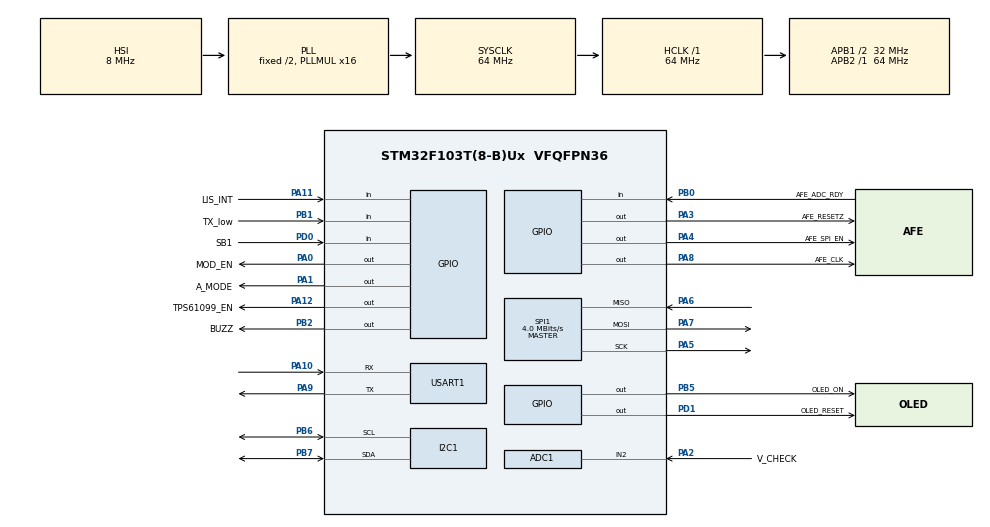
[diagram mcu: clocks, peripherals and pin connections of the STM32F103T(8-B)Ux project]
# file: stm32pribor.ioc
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ADC1.Channel-1\#ChannelRegularConversion=ADC_CHANNEL_2
ADC1.Channel-2\#ChannelRegularConversion=ADC_CHANNEL_2
ADC1.NbrOfConversion=2
ADC1.NbrOfConversionFlag=1
ADC1.Rank-1\#ChannelRegularConversion=1
ADC1.Rank-2\#ChannelRegularConversion=2
ADC1.SamplingTime-1\#ChannelRegularConversion=ADC_SAMPLETIME_1CYCLE_5
ADC1.SamplingTime-2\#ChannelRegularConversion=ADC_SAMPLETIME_1CYCLE_5
ADC1.master=1
Dma.I2C1_RX.1.Direction=DMA_PERIPH_TO_MEMORY
Dma.I2C1_RX.1.Instance=DMA1_Channel7
Dma.I2C1_RX.1.MemDataAlignment=DMA_MDATAALIGN_BYTE
Dma.I2C1_RX.1.MemInc=DMA_MINC_ENABLE
Dma.I2C1_RX.1.Mode=DMA_NORMAL
Dma.I2C1_RX.1.PeriphDataAlignment=DMA_PDATAALIGN_BYTE
Dma.I2C1_RX.1.PeriphInc=DMA_PINC_DISABLE
Dma.I2C1_RX.1.Priority=DMA_PRIORITY_VERY_HIGH
Dma.I2C1_TX.0.Direction=DMA_MEMORY_TO_PERIPH
Dma.I2C1_TX.0.Instance=DMA1_Channel6
Dma.I2C1_TX.0.MemDataAlignment=DMA_MDATAALIGN_BYTE
Dma.I2C1_TX.0.MemInc=DMA_MINC_ENABLE
Dma.I2C1_TX.0.Mode=DMA_NORMAL
Dma.I2C1_TX.0.PeriphDataAlignment=DMA_PDATAALIGN_BYTE
Dma.I2C1_TX.0.PeriphInc=DMA_PINC_DISABLE
Dma.I2C1_TX.0.Priority=DMA_PRIORITY_VERY_HIGH
Dma.Request0=I2C1_TX
Dma.Request1=I2C1_RX
Dma.Request2=SPI1_TX
Dma.Request3=SPI1_RX
Dma.SPI1_RX.3.Direction=DMA_PERIPH_TO_MEMORY
Dma.SPI1_RX.3.Instance=DMA1_Channel2
Dma.SPI1_RX.3.MemDataAlignment=DMA_MDATAALIGN_BYTE
Dma.SPI1_RX.3.MemInc=DMA_MINC_ENABLE
Dma.SPI1_RX.3.Mode=DMA_NORMAL
Dma.SPI1_RX.3.PeriphDataAlignment=DMA_PDATAALIGN_BYTE
Dma.SPI1_RX.3.PeriphInc=DMA_PINC_DISABLE
Dma.SPI1_RX.3.Priority=DMA_PRIORITY_VERY_HIGH
Dma.SPI1_TX.2.Direction=DMA_MEMORY_TO_PERIPH
Dma.SPI1_TX.2.Instance=DMA1_Channel3
Dma.SPI1_TX.2.MemDataAlignment=DMA_MDATAALIGN_BYTE
Dma.SPI1_TX.2.MemInc=DMA_MINC_ENABLE
Dma.SPI1_TX.2.Mode=DMA_NORMAL
Dma.SPI1_TX.2.PeriphDataAlignment=DMA_PDATAALIGN_BYTE
Dma.SPI1_TX.2.PeriphInc=DMA_PINC_DISABLE
Dma.SPI1_TX.2.Priority=DMA_PRIORITY_VERY_HIGH
I2C1.I2C_Mode=I2C_Fast
Mcu.Family=STM32F1
Mcu.Name=STM32F103T(8-B)Ux
Mcu.Package=VFQFPN36
NVIC.DMA1_Channel2_IRQn=true\:0\:0\:false\:false\:true\:false\:true\:true
NVIC.DMA1_Channel3_IRQn=true\:0\:0\:false\:false\:true\:false\:true\:true
NVIC.DMA1_Channel6_IRQn=true\:0\:0\:false\:false\:true\:false\:true\:true
NVIC.DMA1_Channel7_IRQn=true\:0\:0\:false\:false\:true\:false\:true\:true
NVIC.I2C1_ER_IRQn=true\:0\:0\:false\:false\:true\:true\:true\:true
NVIC.I2C1_EV_IRQn=true\:0\:0\:false\:false\:true\:true\:true\:true
NVIC.PriorityGroup=NVIC_PRIORITYGROUP_4
NVIC.SPI1_IRQn=true\:0\:0\:false\:false\:true\:true\:true\:true
NVIC.TIM2_IRQn=true\:0\:0\:false\:false\:true\:true\:true\:true
NVIC.TIM3_IRQn=true\:0\:0\:false\:false\:true\:true\:true\:true
NVIC.USART1_IRQn=true\:0\:0\:false\:false\:true\:true\:true\:true
PA0-WKUP.GPIO_Label=MOD_EN
PA0-WKUP.GPIO_PuPd=GPIO_PULLDOWN
PA0-WKUP.Signal=GPIO_Output
PA1.GPIO_Label=A_MODE
PA1.GPIO_PuPd=GPIO_PULLUP
PA1.Signal=GPIO_Output
PA10.Mode=Asynchronous
PA10.Signal=USART1_RX
PA11.GPIO_Label=LIS_INT
PA11.GPIO_PuPd=GPIO_NOPULL
PA11.Signal=GPIO_Input
PA12.GPIO_Label=TPS61099_EN
PA12.GPIO_PuPd=GPIO_PULLDOWN
PA12.Signal=GPIO_Output
PA13.Mode=JTAG_5_pins
PA13.Signal=SYS_JTMS-SWDIO
PA14.Mode=JTAG_5_pins
PA14.Signal=SYS_JTCK-SWCLK
PA15.Mode=JTAG_5_pins
PA15.Signal=SYS_JTDI
PA2.GPIO_Label=V_CHECK
PA2.Signal=ADCx_IN2
PA3.GPIO_Label=AFE_RESETZ
PA3.GPIO_PuPd=GPIO_PULLDOWN
PA3.GPIO_Speed=GPIO_SPEED_FREQ_HIGH
PA3.Signal=GPIO_Output
PA4.GPIO_Label=AFE_SPI_EN
PA4.GPIO_PuPd=GPIO_PULLUP
PA4.GPIO_Speed=GPIO_SPEED_FREQ_HIGH
PA4.Signal=GPIO_Output
PA5.Mode=Full_Duplex_Master
PA5.Signal=SPI1_SCK
PA6.Mode=Full_Duplex_Master
PA6.Signal=SPI1_MISO
PA7.Mode=Full_Duplex_Master
PA7.Signal=SPI1_MOSI
PA8.GPIO_Label=AFE_CLK
PA8.GPIO_PuPd=GPIO_PULLDOWN
PA8.Signal=GPIO_Output
PA9.Mode=Asynchronous
PA9.Signal=USART1_TX
PB0.GPIO_Label=AFE_ADC_RDY
PB0.Signal=GPIO_Input
PB1.GPIO_Label=TX_low
PB1.Signal=GPIO_Input
PB2.GPIO_Label=BUZZ
PB2.GPIO_PuPd=GPIO_PULLDOWN
PB2.Signal=GPIO_Output
PB3.Mode=JTAG_5_pins
PB3.Signal=SYS_JTDO-TRACESWO
PB4.Mode=JTAG_5_pins
PB4.Signal=SYS_NJTRST
PB5.GPIO_Label=OLED_ON
PB5.GPIO_PuPd=GPIO_PULLDOWN
PB5.Signal=GPIO_Output
PB6.Mode=I2C
PB6.Signal=I2C1_SCL
PB7.Mode=I2C
PB7.Signal=I2C1_SDA
PD0-OSC_IN.GPIO_Label=SB1
PD0-OSC_IN.GPIO_PuPd=GPIO_PULLUP
PD0-OSC_IN.Signal=GPIO_Input
PD1-OSC_OUT.GPIO_Label=OLED_RESET
PD1-OSC_OUT.GPIO_PuPd=GPIO_PULLDOWN
PD1-OSC_OUT.Signal=GPIO_Output
ProjectManager.HeapSize=0x200
ProjectManager.StackSize=0x400
ProjectManager.TargetToolchain=STM32CubeIDE
RCC.ADCPresc=RCC_ADCPCLK2_DIV8
RCC.AHBFreq_Value=64000000
RCC.APB1CLKDivider=RCC_HCLK_DIV2
RCC.APB1Freq_Value=32000000
RCC.APB1TimFreq_Value=64000000
RCC.APB2Freq_Value=64000000
RCC.APB2TimFreq_Value=64000000
RCC.HCLKFreq_Value=64000000
RCC.PLLMUL=RCC_PLL_MUL16
RCC.SYSCLKFreq_VALUE=64000000
RCC.SYSCLKSource=RCC_SYSCLKSOURCE_PLLCLK
RCC.USBFreq_Value=64000000
SH.ADCx_IN2.0=ADC1_IN2,IN2
SPI1.BaudRatePrescaler=SPI_BAUDRATEPRESCALER_16
SPI1.CalculateBaudRate=4.0 MBits/s
SPI1.Direction=SPI_DIRECTION_2LINES
SPI1.Mode=SPI_MODE_MASTER
SPI1.VirtualType=VM_MASTER
TIM2.AutoReloadPreload=TIM_AUTORELOAD_PRELOAD_ENABLE
TIM2.Period=50000
TIM2.Prescaler=1280
TIM3.AutoReloadPreload=TIM_AUTORELOAD_PRELOAD_ENABLE
TIM3.ClockDivision=TIM_CLOCKDIVISION_DIV1
TIM3.Period=60000
TIM3.Prescaler=64000
USART1.VirtualMode=VM_ASYNC
VP_TIM2_VS_ClockSourceINT.Mode=Internal
VP_TIM3_VS_ClockSourceINT.Mode=Internal
board=custom

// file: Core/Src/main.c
/* USER CODE BEGIN Header */
/**
 ******************************************************************************
 * @file           : main.c
 * @brief          : Main program body
 ******************************************************************************
 * @attention
 *
 * Copyright (c) 2022 STMicroelectronics.
 * All rights reserved.
 *
 * This software is licensed under terms that can be found in the LICENSE file
 * in the root directory of this software component.
 * If no LICENSE file comes with this software, it is provided AS-IS.
 *
 ******************************************************************************
 */
/* USER CODE END Header */
#include "main.h"
#include "adc.h"
#include "dma.h"
#include "i2c.h"
#include "spi.h"
#include "tim.h"
#include "usart.h"
#include "gpio.h"

/* USER CODE BEGIN Includes */
#include "afe.h"
#include "heartmonitor.h"
#include "ssd1306.h"
#include "bee.h"
#include "lis2dtw12_reg.h"
#include "stdio.h"
#include "string.h"
#include "ledhelper.h"
#include <stdlib.h>

/* USER CODE END Includes */

/* USER CODE BEGIN PM */
#define SENSOR_BUS hi2c1
#define BOOT_TIME 100 //ms

#define LED_DEPTH 25
#define ACC_DEPTH 25

#define LED_ON_TIME 60 // secs

#define SpO_OK_low 85 // percents
#define HR_limit_low 50 // bpm
#define HR_limit_high 150 // bpm

#define CLOCK 25 // Hz

/* USER CODE END PM */

/* USER CODE BEGIN PV */

FlagStatus LED_ON = SET;
uint16_t LED_OFF_tim = 0;

uint16_t BEE_rate = 1024;

#define ACC_THRESHOLD 3000 // 3 G
static int16_t data_acceleration[ACC_DEPTH][3];
static int32_t data_acceleration_sum;
static int16_t data_raw_acceleration[3];
static int16_t data_raw_temperature;
static float temperature = 0.0;
static uint8_t whoamI, rst;
static lis2dtw12_ctrl4_int1_pad_ctrl_t ctrl4_int1_pad;

FlagStatus AFE_status = SET;
float AFE_GREEN[LED_DEPTH];
float AFE_RED[LED_DEPTH];
float AFE_IR[LED_DEPTH];

FlagStatus DATA_RDY = SET;

float SP_R;
int SP_DISP = 0;

#define TIME_TO_IDLE 20
uint16_t IDLE_timer = 0;
FlagStatus IDLE = RESET;

int HR_COUNT = 0;
float HR_FIN = 80;
int HR_OK = 0;
float HR_DISP = 80;
float HR = 80;

uint8_t tx_buff[3] = { 0, 0, 0 };

// HR CONFIG
#define HR_MON_SIZE  100
#define HR_THRESHOLD  0.35
#define HR_BPF_ORDER  4
#define HR_BPF_LOW  0.8
#define HR_BPF_HIGH  8.5
#define HR_SSF_SIZE  9
#define HR_MA_GREEN_SIZE  5
#define HR_MA_REDIR_SIZE  5

#define SAMPLING_RATE 25
#define ROUNDS 4

#ifdef HR_DEBUG
float AFE_GREEN_COPY[LED_DEPTH];

float HR_M;
float HR_B;
float HR_S;
float HR_P;
float HR_G;
static float acceleration_mg[3];
float SP_RED, SP_IR;

#endif

/* USER CODE END PV */

void SystemClock_Config(void);
/* USER CODE BEGIN PFP */
void LED_on();
void LED_off();
void TPS_on();
void TPS_off();

float getAverageFloat(float *array, uint16_t size);

float findMin(float *array, uint16_t size);
float findMax(float *array, uint16_t size);

static int32_t platform_write(void *handle, uint8_t reg, const uint8_t *bufp,
		uint16_t len);
static int32_t platform_read(void *handle, uint8_t reg, uint8_t *bufp,
		uint16_t len);

static void platform_delay(uint32_t ms);
static void platform_init(void);

uint16_t t_t(int16_t temp);
/* USER CODE END PFP */

/* USER CODE BEGIN 0 */

// SWO trace
int _write(int file, char *ptr, int len) {
	int i = 0;
	for (i = 0; i < len; i++) {
		ITM_SendChar((*ptr++));
	}
	return len;
}

// debug
int counter = 0;

/* USER CODE END 0 */

int main(void) {

	/* MCU Configuration--------------------------------------------------------*/

	/* Reset of all peripherals, Initializes the Flash interface and the Systick. */
	HAL_Init();

	/* Configure the system clock */
	SystemClock_Config();

	/* Initialize all configured peripherals */
	MX_GPIO_Init();
	MX_DMA_Init();
	MX_I2C1_Init();
	MX_USART1_UART_Init();
	MX_SPI1_Init();
	MX_TIM2_Init();
	MX_ADC1_Init();
	MX_TIM3_Init();
	/* USER CODE BEGIN 2 */

	HAL_TIM_Base_Start_IT(&htim2);
	HAL_TIM_Base_Start_IT(&htim3);

	/* AFE INIT START*/
	// Enable power for 4.2V
	TPS_on();
	AFE_status = SET;
	// Initialize AFE4420
	AFE_INIT(&hspi1);
	// Set voltage on LEDs
	AFE_LED_STRENGTH(0, 30, 30, 30);
	AFE_ILED_UPDATE();
	/* AFE INIT END */

	/* LED INIT START*/
	LED_on();
	LED_pribor();
	/* LED INIT END */

	/* LIS INIT START */
	stmdev_ctx_t dev_ctx;
	dev_ctx.write_reg = platform_write;
	dev_ctx.read_reg = platform_read;
	dev_ctx.handle = &SENSOR_BUS;
	// Initialize platform specific hardware
	platform_init();
	// Wait sensor boot time
	platform_delay(BOOT_TIME);
	// Check device ID
	lis2dtw12_device_id_get(&dev_ctx, &whoamI);

	if (whoamI != LIS2DTW12_ID)
		while (1) {
			// Device not found
		}

	// Restore default configuration
	lis2dtw12_reset_set(&dev_ctx, PROPERTY_ENABLE);

	do {
		lis2dtw12_reset_get(&dev_ctx, &rst);
	} while (rst);

	//  Enable Block Data Update
	lis2dtw12_block_data_update_set(&dev_ctx, PROPERTY_ENABLE);
	// interrupt
	lis2dtw12_int_notification_set(&dev_ctx, LIS2DTW12_INT_LATCHED);
	lis2dtw12_pin_polarity_set(&dev_ctx, LIS2DTW12_ACTIVE_HIGH);
	lis2dtw12_pin_int1_route_get(&dev_ctx, &ctrl4_int1_pad);
	ctrl4_int1_pad.int1_wu = PROPERTY_ENABLE;
	lis2dtw12_pin_int1_route_set(&dev_ctx, &ctrl4_int1_pad);

	// sleep
	lis2dtw12_wkup_dur_set(&dev_ctx, 0x2);
	lis2dtw12_act_sleep_dur_set(&dev_ctx, 0x2);
	lis2dtw12_wkup_threshold_set(&dev_ctx, 0x2);
	/* Data sent to wake-up interrupt function */
	lis2dtw12_wkup_feed_data_set(&dev_ctx, LIS2DTW12_HP_FEED);
	/* Config activity / inactivity or stationary / motion detection */
	lis2dtw12_act_mode_set(&dev_ctx, LIS2DTW12_DETECT_ACT_INACT);

	// Set full scale
	lis2dtw12_full_scale_set(&dev_ctx, LIS2DTW12_8g);
	// Configure filtering chain
	// Accelerometer - filter path / bandwidth
	lis2dtw12_filter_path_set(&dev_ctx, LIS2DTW12_LPF_ON_OUT);
	lis2dtw12_filter_bandwidth_set(&dev_ctx, LIS2DTW12_ODR_DIV_4);
	// Configure FIFO
	lis2dtw12_fifo_watermark_set(&dev_ctx, ACC_DEPTH);
	lis2dtw12_fifo_mode_set(&dev_ctx, LIS2DTW12_STREAM_MODE);
	// Configure power mode
	lis2dtw12_power_mode_set(&dev_ctx, LIS2DTW12_HIGH_PERFORMANCE);
	//lis2dtw12_power_mode_set(&dev_ctx, LIS2DTW12_CONT_LOW_PWR_LOW_NOISE_12bit);
	// Set Output Data Rate */
	lis2dtw12_data_rate_set(&dev_ctx, LIS2DTW12_XL_ODR_25Hz);
	/* LIS INIT END */

	/* BEE INIT START */
	// ENABLE SWARM PA0 (MOD_EN) -> MOD_EN
	HAL_GPIO_WritePin(MOD_EN_GPIO_Port, MOD_EN_Pin, GPIO_PIN_SET);

	// Set swarm into external control mode PA1 -> A_MODE
	HAL_GPIO_WritePin(A_MODE_GPIO_Port, A_MODE_Pin, GPIO_PIN_RESET);

	HAL_Delay(100);

	// First msg = SWARM RADIO. Must be read!
	HAL_UART_Receive(&huart1, (uint8_t*) bee_response, 128, 100);
	HAL_Delay(1000);

	// Set uart handler for bee
	BEE_init(&huart1);
	BEE_set_binary();
	HAL_Delay(100);
	// Switch bee in binary mode (from ASCII)

	// Set interval between messages from bee
	BEE_b_sbiv(BEE_rate);
	HAL_Delay(100);
	/* BEE INIT END */

	HR_HeartMonitor *HR_heartMonitor = HR_heartMonitor_new(SAMPLING_RATE,
	HR_MON_SIZE,
	HR_THRESHOLD, HR_BPF_ORDER, HR_BPF_LOW, HR_BPF_HIGH, HR_SSF_SIZE,
	HR_MA_GREEN_SIZE,
	HR_MA_REDIR_SIZE);

	MA_filter *ma_red = MA_new(7);
	MA_filter *ma_ir = MA_new(7);

#ifdef HR_DEBUG
	// Debug
	printf("Starting debug cycle!\r\n");
	while (1) {
		while (HAL_GPIO_ReadPin(AFE_ADC_RDY_GPIO_Port, AFE_ADC_RDY_Pin)
				!= GPIO_PIN_SET)
			;
		AFE_FIFO_READ(LED_DEPTH * 4);
		for (uint16_t i = 0; i < LED_DEPTH; i++) {
			AFE_RED[i] = AFE_FLOAT[i * 4];
			AFE_IR[i] = AFE_FLOAT[1 + i * 4];
			AFE_GREEN[i] = AFE_FLOAT[2 + i * 4];
			AFE_GREEN_COPY[i] = AFE_GREEN[i];
		}

		MA_process(ma_red, AFE_RED, 25);
		MA_process(ma_ir, AFE_IR, 25);

		// Read data from LIS2
		uint8_t val;
		lis2dtw12_fifo_data_level_get(&dev_ctx, &val);

		if (val >= 25) {
			lis2dtw12_fifo_data_level_get(&dev_ctx, &val);
			for (int i = ACC_DEPTH - 1; i >= 0; i--) {
				memset(data_raw_acceleration, 0x00, 3 * sizeof(int16_t));
				lis2dtw12_acceleration_raw_get(&dev_ctx, data_raw_acceleration);
				data_acceleration[i][0] = lis2dtw12_from_fs8_lp1_to_mg(
						data_raw_acceleration[0]);
				data_acceleration[i][1] = lis2dtw12_from_fs8_lp1_to_mg(
						data_raw_acceleration[1]);
				data_acceleration[i][2] = lis2dtw12_from_fs8_lp1_to_mg(
						data_raw_acceleration[2]);
			}

		} else {

		}

		lis2dtw12_temperature_raw_get(&dev_ctx, &data_raw_temperature);
		temperature = lis2dtw12_from_lsb_to_celsius(data_raw_temperature);

		// Control green voltage
		float led_green_average = getAverageFloat(AFE_GREEN, LED_DEPTH);

		if (led_green_average > 0.9 && AFE_ILED_2 > 11) {
			AFE_ILED_2 -= 10;
			AFE_ILED_UPDATE();
			HR_COUNT = 0;

		}
		if (led_green_average < 0.4 && AFE_ILED_2 < 91) {
			AFE_ILED_2 += 10;
			AFE_ILED_UPDATE();
			HR_COUNT = 0;
		}

		// Add samples

		HR_heartMonitor_addGreen(HR_heartMonitor, AFE_GREEN, LED_DEPTH);
		HR_heartMonitor_addRedIr(HR_heartMonitor, AFE_RED, AFE_IR, LED_DEPTH);

		// If okay - calculate HR

		HR_heartMonitor_peaksFromGreen(HR_heartMonitor);
		HR = HR_heartMonitor_heartRateFromPeaks(HR_heartMonitor);
		if (!isnanf(HR)) {
			HR_DISP = 2.0 * HR_DISP / 3.0 + HR / 3.0;
		} else {
			HR = 0.0;
		}
		SP_R = HR_heartMonitor_ratioFromPeaks(HR_heartMonitor);
		if (isnanf(SP_R)) {
			SP_R = 0.0;
		}
		SP_DISP = 110.0 - 25.0 * SP_R;

		HR_COUNT++;

		// Check finger on sensor
		if (led_green_average < 0.5 && AFE_ILED_2 >= 91) {
			HR_FIN = 0;
		} else {
			HR_FIN = HR_DISP;
		}

		// Monitor displaying
		for (int i = 0; i < LED_DEPTH; i++) {
			HR_G = AFE_GREEN_COPY[i];
			HR_B = d1[i];
			HR_S = d2[i];
			HR_P = HR_heartMonitor->peaks[HR_heartMonitor->size - LED_DEPTH + i]
					* HR_G;

			acceleration_mg[0] = data_acceleration[i][0];
			acceleration_mg[1] = data_acceleration[i][1];
			acceleration_mg[2] = data_acceleration[i][2];

			SP_RED = AFE_RED[i];
			SP_IR = AFE_IR[i];
			HAL_Delay(30); // for monitor alignment
		}

		counter++;
		__HAL_TIM_SET_COUNTER(&htim2, 0);
		LED_OFF_tim = 0;
		LED_update(temperature, HR_DISP, SP_DISP);
		printf_bee_response();

		// fuzz
		// uint8_t tmp[3] = { counter % 128, counter + 5, counter - 10 };
		// BEE_b_fnin((uint8_t*) tmp, 3);

		tx_buff[0] = (uint8_t) HR_DISP;
		tx_buff[1] = (uint8_t) temperature;
		tx_buff[2] = (uint8_t) SP_DISP;

		BEE_b_fnin((uint8_t*) tx_buff, 3);

	}
#endif

	/* USER CODE END 2 */

	/* Infinite loop */
	while (1) {

		/* USER CODE BEGIN 3 */

		// Button status
		FlagStatus butt_wakeup = RESET;
		// Data is not ready while sensor don't give correct data
		DATA_RDY = RESET;

		// Delay by INT of AFE
		while (HAL_GPIO_ReadPin(AFE_ADC_RDY_GPIO_Port, AFE_ADC_RDY_Pin)
				!= GPIO_PIN_SET) {
			// Wakeup button
			if (!HAL_GPIO_ReadPin(SB1_GPIO_Port, SB1_Pin)) {
				butt_wakeup = SET;
			}
		}

		// Check wakeup flag LIS
		lis2dtw12_all_sources_t all_source;

		// LED wake up
		if (HAL_GPIO_ReadPin(LIS_INT_GPIO_Port, LIS_INT_Pin) || butt_wakeup) {
			lis2dtw12_all_sources_get(&dev_ctx, &all_source);
			if (all_source.wake_up_src.wu_ia || butt_wakeup) {
				// Stop idle
				IDLE_timer = 0;
				IDLE = RESET;
				// Reset led idle timer
				LED_OFF_tim = 0;
				// Switch on led if off
				if (!LED_ON) {
					LED_on();
					LED_pribor();
					LED_ON = SET;
				}
			}
		}

		// Wakeup button can on afe's leds
		if (butt_wakeup) {
			__HAL_TIM_SET_COUNTER(&htim3, 0);
			AFE_status = SET;
			TPS_on();
		}

		// Afe's led on - read values
		if (AFE_status && !IDLE) {
			HR_COUNT++;
			// Read fifo
			AFE_FIFO_READ(LED_DEPTH * 4);
			for (uint16_t i = 0; i < LED_DEPTH; i++) {
				AFE_RED[i] = AFE_FLOAT[i * 4];
				AFE_IR[i] = AFE_FLOAT[1 + i * 4];
				AFE_GREEN[i] = AFE_FLOAT[2 + i * 4];
			}
			MA_process(ma_red, AFE_RED, LED_DEPTH);
			MA_process(ma_ir, AFE_IR, LED_DEPTH);

			// Read data from LIS2
			uint8_t val;
			lis2dtw12_fifo_data_level_get(&dev_ctx, &val);

			if (val >= ACC_DEPTH) {
				lis2dtw12_fifo_data_level_get(&dev_ctx, &val);
				data_acceleration_sum = 0;
				for (int i = ACC_DEPTH - 1; i >= 0; i--) {
					memset(data_raw_acceleration, 0x00, 3 * sizeof(int16_t));
					lis2dtw12_acceleration_raw_get(&dev_ctx,
							data_raw_acceleration);
					data_acceleration[i][0] = lis2dtw12_from_fs8_lp1_to_mg(
							data_raw_acceleration[0]);
					data_acceleration[i][1] = lis2dtw12_from_fs8_lp1_to_mg(
							data_raw_acceleration[1]);
					data_acceleration[i][2] = lis2dtw12_from_fs8_lp1_to_mg(
							data_raw_acceleration[2]);
					data_acceleration_sum += abs(data_acceleration[i][0])
							+ abs(data_acceleration[i][1])
							+ abs(data_acceleration[i][2]);
				}
				data_acceleration_sum /= ACC_DEPTH;
			}

			// control some acc to remove to sharp moves
			if (data_acceleration_sum > ACC_THRESHOLD) {
				HR_COUNT = 0;
			}

			// Get temperature
			lis2dtw12_temperature_raw_get(&dev_ctx, &data_raw_temperature);
			temperature = lis2dtw12_from_lsb_to_celsius(data_raw_temperature);

			// Control green voltage
			float led_green_average = getAverageFloat(AFE_GREEN, LED_DEPTH);

			if (led_green_average > 0.9 && AFE_ILED_2 > 11) {
				HR_OK = 0;
				AFE_ILED_2 -= 10;
				AFE_ILED_UPDATE();
				HR_COUNT = 0;

			}
			if (led_green_average < 0.4 && AFE_ILED_2 < 91) {
				HR_OK = 0;
				AFE_ILED_2 += 10;
				AFE_ILED_UPDATE();
				HR_COUNT = 0;
			}

			// Add samples to HR module
			HR_heartMonitor_addGreen(HR_heartMonitor, AFE_GREEN, LED_DEPTH);
			HR_heartMonitor_addRedIr(HR_heartMonitor, AFE_RED, AFE_IR,
			LED_DEPTH);

			// Now filers are stable and can find HR and SPO
			if (HR_COUNT > ROUNDS) {

				HR_heartMonitor_peaksFromGreen(HR_heartMonitor);

				// Data will be valid - data_rdy set
				DATA_RDY = SET;

				// Check heartrate
				HR = HR_heartMonitor_heartRateFromPeaks(HR_heartMonitor);
				if (!isnanf(HR)) {
					HR_DISP = 2.0 * HR_DISP / 3.0 + HR / 3.0;
				} else {
					HR = 0.0;
				}

				// Check SPO
				SP_R = HR_heartMonitor_ratioFromPeaks(HR_heartMonitor);
				if (isnanf(SP_R)) {
					SP_R = 0.0;
					SP_DISP = 0.0;
				} else {
					SP_DISP = 110.0 - 25.0 * SP_R;
					if (SP_DISP >= 100.0) {
						SP_DISP = 99.9;
					}
				}

				// Check for limits
				if (HR < HR_limit_high && HR > HR_limit_low
						&& SP_DISP > SpO_OK_low) {
					HR_OK++;
				} else {
					HR_OK = 0;
				}

			}

			// Check finger/wrist on sensor
			if (led_green_average < 0.5 && AFE_ILED_2 >= 91) {
				HR_OK = 0;
				HR_COUNT = 0;
				HR_FIN = 0;
				SP_DISP = 0;
				IDLE_timer++;
			} else {
				IDLE_timer = 0;
				HR_FIN = HR_DISP;
			}

			// No finger - can start idle
			if (IDLE_timer > TIME_TO_IDLE) {
				IDLE = SET;
				IDLE_timer = 0;
				AFE_status = RESET;
				TPS_off();
				LED_ON = RESET;
				LED_off();
			}

			// Values is good, can turn off led's and wait period before next session
			if (HR_OK > 10) {
				AFE_status = RESET;
				TPS_off();
			} else {
				// reset turning led's on timer
				__HAL_TIM_SET_COUNTER(&htim3, 0);
			}
		}

		// If have new data - send it in swarm
		if (DATA_RDY) {
			tx_buff[0] = (uint8_t) HR_DISP;
			tx_buff[1] = (uint8_t) temperature;
			tx_buff[2] = (uint8_t) SP_DISP;
			BEE_b_fnin(tx_buff, 3);
		}

		// If oled is on
		if (LED_ON && !IDLE && DATA_RDY) {
			LED_update(temperature, HR_FIN, SP_DISP);
		}
	}
	/* USER CODE END 3 */
}

void SystemClock_Config(void) {
	RCC_OscInitTypeDef RCC_OscInitStruct = { 0 };
	RCC_ClkInitTypeDef RCC_ClkInitStruct = { 0 };
	RCC_PeriphCLKInitTypeDef PeriphClkInit = { 0 };

	/** Initializes the RCC Oscillators according to the specified parameters
	 * in the RCC_OscInitTypeDef structure.
	 */
	RCC_OscInitStruct.OscillatorType = RCC_OSCILLATORTYPE_HSI;
	RCC_OscInitStruct.HSIState = RCC_HSI_ON;
	RCC_OscInitStruct.HSICalibrationValue = RCC_HSICALIBRATION_DEFAULT;
	RCC_OscInitStruct.PLL.PLLState = RCC_PLL_ON;
	RCC_OscInitStruct.PLL.PLLSource = RCC_PLLSOURCE_HSI_DIV2;
	RCC_OscInitStruct.PLL.PLLMUL = RCC_PLL_MUL16;
	if (HAL_RCC_OscConfig(&RCC_OscInitStruct) != HAL_OK) {
		Error_Handler();
	}

	/** Initializes the CPU, AHB and APB buses clocks
	 */
	RCC_ClkInitStruct.ClockType = RCC_CLOCKTYPE_HCLK | RCC_CLOCKTYPE_SYSCLK
			| RCC_CLOCKTYPE_PCLK1 | RCC_CLOCKTYPE_PCLK2;
	RCC_ClkInitStruct.SYSCLKSource = RCC_SYSCLKSOURCE_PLLCLK;
	RCC_ClkInitStruct.AHBCLKDivider = RCC_SYSCLK_DIV1;
	RCC_ClkInitStruct.APB1CLKDivider = RCC_HCLK_DIV2;
	RCC_ClkInitStruct.APB2CLKDivider = RCC_HCLK_DIV1;

	if (HAL_RCC_ClockConfig(&RCC_ClkInitStruct, FLASH_LATENCY_2) != HAL_OK) {
		Error_Handler();
	}
	PeriphClkInit.PeriphClockSelection = RCC_PERIPHCLK_ADC;
	PeriphClkInit.AdcClockSelection = RCC_ADCPCLK2_DIV8;
	if (HAL_RCCEx_PeriphCLKConfig(&PeriphClkInit) != HAL_OK) {
		Error_Handler();
	}
}

/* USER CODE BEGIN 4 */

// tim2 = control led
// tim3 = control AFE power supply
void HAL_TIM_PeriodElapsedCallback(TIM_HandleTypeDef *htim) {
	if (htim->Instance == TIM2) {
		if (LED_OFF_tim++ > LED_ON_TIME && LED_ON) {
			LED_off();
			LED_ON = RESET;
		}
	}
	if (htim->Instance == TIM3) {
		if (!IDLE) {
			TPS_on();
			AFE_status = SET;
		}

	}

}

// Switch on LEd and init it
void LED_on() {
	// RESET = 0
	HAL_GPIO_WritePin(OLED_RESET_GPIO_Port, OLED_RESET_Pin, GPIO_PIN_SET);
	// LED_ON = 1
	HAL_GPIO_WritePin(OLED_ON_GPIO_Port, OLED_ON_Pin, GPIO_PIN_SET);
	HAL_Delay(10);
	// INIT
	LED_init();
	// Show logo
	HAL_Delay(10);
}

// Switch off LED
void LED_off() {
	// RESET = 1
	HAL_GPIO_WritePin(OLED_RESET_GPIO_Port, OLED_RESET_Pin, GPIO_PIN_RESET);
	// LED_ON = 0
	HAL_GPIO_WritePin(OLED_ON_GPIO_Port, OLED_ON_Pin, GPIO_PIN_RESET);
}

// Switch on AFE LED supply
void TPS_on() {
	HR_OK = 0;
	HAL_GPIO_WritePin(TPS61099_EN_GPIO_Port, TPS61099_EN_Pin, GPIO_PIN_SET);
}

// Switch off AFE LED supply
void TPS_off() {
	HAL_GPIO_WritePin(TPS61099_EN_GPIO_Port, TPS61099_EN_Pin, GPIO_PIN_RESET);
}

float getAverageFloat(float *array, uint16_t size) {
	float sum = 0.0;
	for (uint16_t i = 0; i < size; i++) {
		sum += array[i];
	}
	return sum / size;
}

float findMin(float *array, uint16_t size) {
	float result = array[0];
	for (uint16_t i = 1; i < size; i++) {
		if (result > array[i]) {
			result = array[i];
		}
	}
	return result;
}

float findMax(float *array, uint16_t size) {
	float result = array[0];
	for (uint16_t i = 1; i < size; i++) {
		if (result < array[i]) {
			result = array[i];
		}
	}
	return result;
}

static int32_t platform_write(void *handle, uint8_t reg, const uint8_t *bufp,
		uint16_t len) {
	while (HAL_I2C_GetState(handle) != HAL_I2C_STATE_READY)
		;
	HAL_I2C_Mem_Write_DMA(handle, LIS2DTW12_I2C_ADD_L, reg,
	I2C_MEMADD_SIZE_8BIT, (uint8_t*) bufp, len);
	return 0;

}
static int32_t platform_read(void *handle, uint8_t reg, uint8_t *bufp,
		uint16_t len) {
	while (HAL_I2C_GetState(handle) != HAL_I2C_STATE_READY)
		;
	HAL_I2C_Mem_Read(handle, LIS2DTW12_I2C_ADD_L, reg,
	I2C_MEMADD_SIZE_8BIT, bufp, len, 1000);
	return 0;
}

// linear approx between led_depth and acc_depth
void linear_approx(int16_t *src, int src_size, int16_t *dist, int dist_size) {
	float step = (float) (src_size - 1) / (dist_size - 1);

	for (int i = 0; i < dist_size; i++) {
		float index = i * step;
		int lower_index = (int) index;
		int upper_index = lower_index + 1;
		float weight = index - lower_index;
		dist[i] = src[lower_index] * (1 - weight) + src[upper_index] * weight;
	}
}

static void platform_delay(uint32_t ms) {
	HAL_Delay(ms);
}

static void platform_init(void) {
	return;
}

/* USER CODE END 4 */

void Error_Handler(void) {
	/* USER CODE BEGIN Error_Handler_Debug */
	/* User can add his own implementation to report the HAL error return state */
	NVIC_SystemReset();

	__disable_irq();
	while (1) {
		HAL_Delay(10);

	}
	/* USER CODE END Error_Handler_Debug */
}
